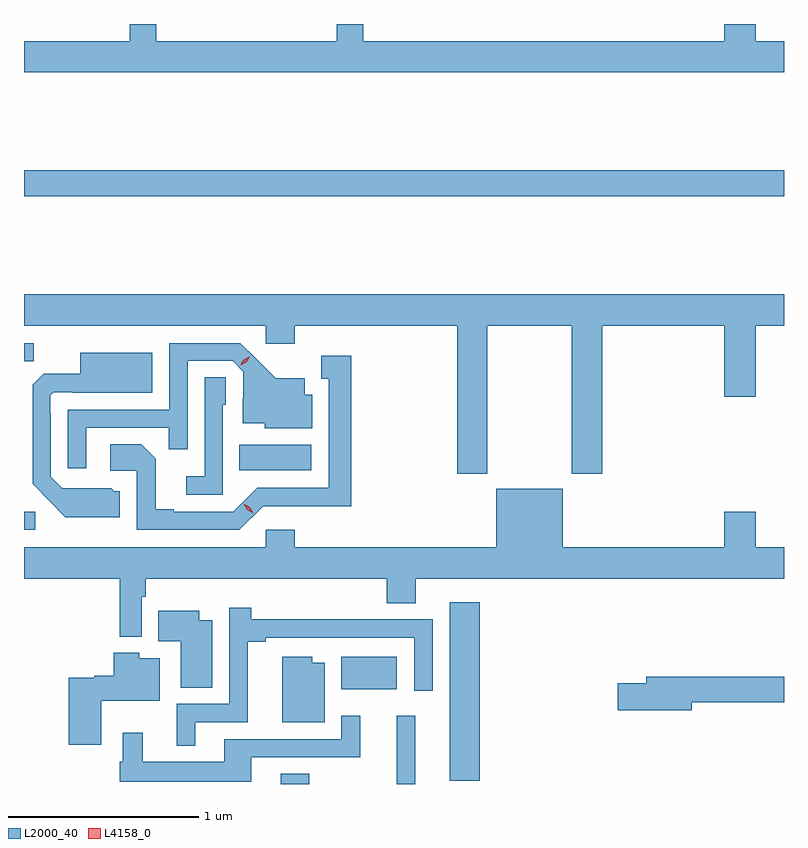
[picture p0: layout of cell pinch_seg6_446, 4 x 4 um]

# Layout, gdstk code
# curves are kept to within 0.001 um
import gdstk
lib = gdstk.Library(unit=1e-6, precision=1e-09)
def R(c, l, rs):  # rectangles x0, y0, x1, y1
    for r in rs: c.add(gdstk.rectangle(r[:2], r[2:], *l))
def P(c, l, *ps):  # polygons
    for p in ps: c.add(gdstk.Polygon(p, *l))
L2000_40 = (2000, 40)
L4158_0 = (4158, 0)

pinch_seg6_446 = lib.new_cell('pinch_seg6_446')
R(pinch_seg6_446, L2000_40, [(702.134,927.607,702.282,927.662), (702.743,927.607,702.842,927.967), (703.022,927.624,703.181,928.564), (702.452,928.106,702.745,928.276), (700.782,928.944,700.84,929.04), (701.914,929.258,702.295,929.392), (700.782,929.833,700.833,929.928), (700.782,930.7,704.782,930.836)])
P(pinch_seg6_446, L2000_40, [(704.782,931.516),(704.632,931.516),(704.632,931.607),(704.468,931.607),(704.468,931.516),(702.568,931.516),(702.568,931.607),(702.429,931.607),(702.429,931.516),(701.479,931.516),(701.479,931.607),(701.339,931.607),(701.339,931.516),(700.782,931.516),(700.782,931.352),(704.782,931.352)],
  [(703.221,930.02),(703.666,930.02),(703.666,929.241),(703.826,929.241),(703.826,930.02),(704.468,930.02),(704.468,929.646),(704.632,929.646),(704.632,930.02),(704.782,930.02),(704.782,930.184),(700.782,930.184),(700.782,930.02),(702.054,930.02),(702.054,929.925),(702.206,929.925),(702.206,930.02),(703.061,930.02),(703.061,929.241),(703.221,929.241)],
  [(701.109,929.481),(701.545,929.481),(701.545,929.368),(701.643,929.368),(701.643,929.835),(701.88,929.835),(701.937,929.778),(701.937,929.636),(701.933,929.636),(701.933,929.507),(702.048,929.507),(702.048,929.48),(702.298,929.48),(702.298,929.656),(702.259,929.656),(702.259,929.743),(702.107,929.743),(701.92,929.928),(701.547,929.928),(701.547,929.577),(701.013,929.577),(701.013,929.268),(701.109,929.268)],
  [(701.287,929.148),(701.256,929.148),(701.24,929.164),(700.983,929.163),(700.923,929.223),(700.923,929.552),(700.92,929.552),(700.92,929.652),(700.938,929.67),(701.038,929.67),(701.038,929.666),(701.458,929.666),(701.458,929.878),(701.078,929.878),(701.078,929.767),(700.886,929.767),(700.827,929.708),(700.827,929.186),(700.999,929.012),(701.287,929.012)],
  [(702.042,929.07),(702.505,929.069),(702.505,929.86),(702.347,929.86),(702.347,929.739),(702.386,929.739),(702.386,929.166),(702.009,929.166),(701.883,929.04),(701.569,929.04),(701.569,929.053),(701.475,929.053),(701.475,929.32),(701.399,929.396),(701.235,929.396),(701.235,929.256),(701.376,929.256),(701.376,928.944),(701.916,928.944)],
  [(701.829,929.604),(701.844,929.604),(701.844,929.747),(701.733,929.747),(701.733,929.227),(701.637,929.227),(701.637,929.13),(701.829,929.13)],
  [(701.403,928.592),(701.423,928.592),(701.423,928.688),(702.692,928.688),(702.692,928.558),(702.844,928.558),(702.844,928.688),(704.782,928.688),(704.782,928.852),(704.632,928.852),(704.632,929.041),(704.468,929.041),(704.468,928.852),(703.618,928.852),(703.618,929.161),(703.268,929.161),(703.268,928.852),(702.206,928.852),(702.206,928.945),(702.054,928.945),(702.054,928.852),(700.782,928.852),(700.782,928.688),(701.287,928.688),(701.287,928.382),(701.403,928.382)],
  [(701.683,927.933),(701.96,927.933),(701.96,928.357),(702.055,928.357),(702.055,928.377),(702.837,928.377),(702.837,928.098),(702.933,928.098),(702.933,928.473),(702.608,928.473),(702.608,928.475),(701.978,928.475),(701.978,928.534),(701.862,928.534),(701.862,928.029),(701.585,928.029),(701.585,927.809),(701.683,927.809)],
  [(701.773,928.468),(701.704,928.468),(701.704,928.519),(701.488,928.519),(701.488,928.358),(701.606,928.358),(701.606,928.114),(701.773,928.114)],
  [(701.188,928.046),(701.497,928.046),(701.497,928.27),(701.388,928.27),(701.388,928.297),(701.255,928.297),(701.255,928.178),(701.153,928.178),(701.153,928.165),(701.018,928.165),(701.018,927.813),(701.188,927.813)],
  [(702.364,928.246),(702.298,928.246),(702.298,928.276),(702.14,928.276),(702.14,927.932),(702.364,927.932)],
  [(704.296,928.036),(704.782,928.036),(704.782,928.172),(704.057,928.172),(704.057,928.136),(703.908,928.136),(703.908,927.994),(704.296,927.994)],
  [(701.977,927.747),(702.551,927.747),(702.551,927.967),(702.453,927.967),(702.453,927.843),(701.837,927.843),(701.837,927.724),(701.407,927.724),(701.407,927.877),(701.303,927.877),(701.303,927.725),(701.286,927.725),(701.286,927.62),(701.977,927.62)])
P(pinch_seg6_446, L4158_0, [(701.988,929.031),(701.956,929.05),(701.939,929.082),(701.939,929.083),(701.939,929.083),(701.971,929.064),(701.988,929.031),(701.988,929.031)],
  [(701.92,929.811),(701.92,929.811),(701.938,929.841),(701.968,929.856),(701.969,929.856),(701.969,929.856),(701.951,929.826),(701.92,929.811)])

lib.write_gds('pinch_seg6_446.gds')
